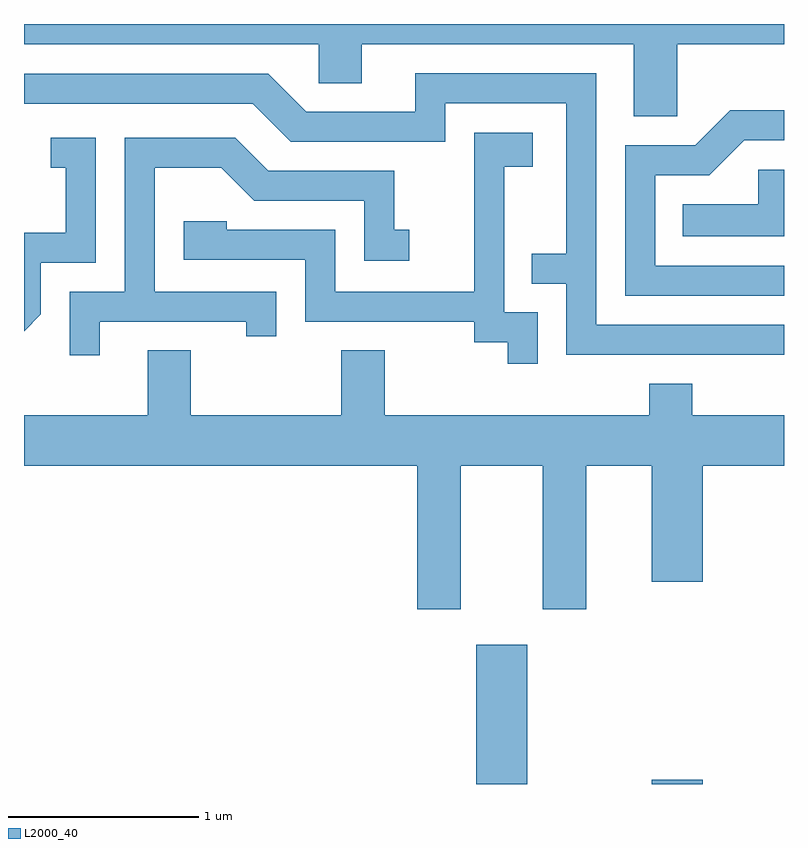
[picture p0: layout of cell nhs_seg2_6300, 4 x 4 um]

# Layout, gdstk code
import gdstk
lib = gdstk.Library(unit=1e-6, precision=1e-09)
def R(c, l, rs):  # rectangles x0, y0, x1, y1
    for r in rs: c.add(gdstk.rectangle(r[:2], r[2:], *l))
def P(c, l, *ps):  # polygons
    for p in ps: c.add(gdstk.Polygon(p, *l))
L2000_40 = (2000, 40)

nhs_seg2_6300 = lib.new_cell('nhs_seg2_6300')
R(nhs_seg2_6300, L2000_40, [(373.991,997.802,374.259,998.534), (374.916,997.802,375.184,997.824)])
P(nhs_seg2_6300, L2000_40, [(375.049,1001.696),(375.611,1001.696),(375.611,1001.802),(371.611,1001.802),(371.611,1001.696),(373.161,1001.696),(373.161,1001.491),(373.389,1001.491),(373.389,1001.696),(374.821,1001.696),(374.821,1001.316),(375.049,1001.316)],
  [(375.611,1000.219),(374.624,1000.219),(374.624,1001.544),(373.671,1001.544),(373.671,1001.339),(373.097,1001.339),(372.897,1001.539),(371.611,1001.539),(371.611,1001.381),(372.814,1001.381),(373.014,1001.181),(373.829,1001.181),(373.829,1001.386),(374.466,1001.386),(374.466,1000.594),(374.283,1000.594),(374.283,1000.436),(374.466,1000.436),(374.466,1000.061),(375.611,1000.061)],
  [(375.611,1000.529),(374.934,1000.529),(374.934,1001.006),(375.217,1001.006),(375.402,1001.191),(375.611,1001.191),(375.611,1001.349),(375.329,1001.349),(375.144,1001.164),(374.776,1001.164),(374.776,1000.371),(375.611,1000.371)],
  [(374.314,1000.284),(374.139,1000.284),(374.139,1001.051),(374.289,1001.051),(374.289,1001.229),(373.981,1001.229),(373.981,1000.394),(373.249,1000.394),(373.249,1000.719),(372.679,1000.719),(372.679,1000.764),(372.451,1000.764),(372.451,1000.561),(373.091,1000.561),(373.091,1000.236),(373.981,1000.236),(373.981,1000.126),(374.156,1000.126),(374.156,1000.013),(374.314,1000.013)],
  [(372.009,1000.236),(372.781,1000.236),(372.781,1000.158),(372.939,1000.158),(372.939,1000.394),(372.299,1000.394),(372.299,1001.046),(372.649,1001.046),(372.824,1000.871),(373.401,1000.871),(373.401,1000.556),(373.638,1000.556),(373.638,1000.719),(373.559,1000.719),(373.559,1001.029),(372.897,1001.029),(372.722,1001.204),(372.141,1001.204),(372.141,1000.394),(371.851,1000.394),(371.851,1000.058),(372.009,1000.058)],
  [(371.699,1000.274),(371.699,1000.546),(371.989,1000.546),(371.989,1001.204),(371.753,1001.204),(371.753,1001.046),(371.831,1001.046),(371.831,1000.704),(371.611,1000.704),(371.611,1000.186)],
  [(375.611,1001.034),(375.476,1001.034),(375.476,1000.854),(375.078,1000.854),(375.078,1000.686),(375.611,1000.686)],
  [(373.909,999.476),(374.341,999.476),(374.341,998.721),(374.569,998.721),(374.569,999.476),(374.916,999.476),(374.916,998.866),(375.184,998.866),(375.184,999.476),(375.611,999.476),(375.611,999.744),(375.129,999.744),(375.129,999.909),(374.901,999.909),(374.901,999.744),(373.509,999.744),(373.509,1000.084),(373.281,1000.084),(373.281,999.744),(372.489,999.744),(372.489,1000.084),(372.261,1000.084),(372.261,999.744),(371.611,999.744),(371.611,999.476),(373.681,999.476),(373.681,998.721),(373.909,998.721)])

lib.write_gds('nhs_seg2_6300.gds')
